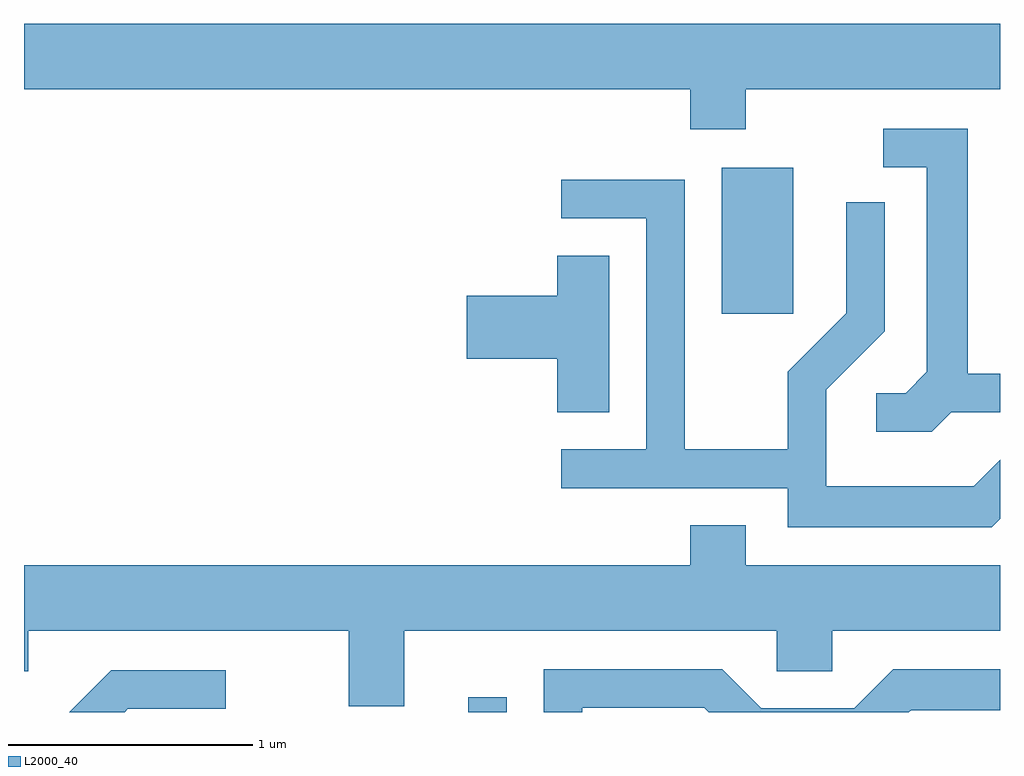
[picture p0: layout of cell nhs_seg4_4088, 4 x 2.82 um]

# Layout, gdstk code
import gdstk
lib = gdstk.Library(unit=1e-6, precision=1e-09)
def R(c, l, rs):  # rectangles x0, y0, x1, y1
    for r in rs: c.add(gdstk.rectangle(r[:2], r[2:], *l))
def P(c, l, *ps):  # polygons
    for p in ps: c.add(gdstk.Polygon(p, *l))
L2000_40 = (2000, 40)

nhs_seg4_4088 = lib.new_cell('nhs_seg4_4088')
R(nhs_seg4_4088, L2000_40, [(307.431,1269.982,307.589,1270.043), (308.471,1271.616,308.764,1272.214)])
P(nhs_seg4_4088, L2000_40, [(308.569,1272.536),(309.611,1272.536),(309.611,1272.804),(305.611,1272.804),(305.611,1272.536),(308.341,1272.536),(308.341,1272.371),(308.569,1272.371)],
  [(309.412,1271.211),(309.611,1271.211),(309.611,1271.369),(309.479,1271.369),(309.479,1272.374),(309.133,1272.374),(309.133,1272.216),(309.311,1272.216),(309.311,1271.377),(309.224,1271.289),(309.103,1271.289),(309.103,1271.131),(309.332,1271.131)],
  [(309.611,1270.775),(309.611,1271.016),(309.504,1270.909),(308.899,1270.909),(308.899,1271.304),(309.139,1271.544),(309.139,1272.073),(308.981,1272.073),(308.981,1271.617),(308.741,1271.377),(308.741,1271.059),(308.319,1271.059),(308.319,1272.164),(307.813,1272.164),(307.813,1272.006),(308.161,1272.006),(308.161,1271.059),(307.813,1271.059),(307.813,1270.901),(308.741,1270.901),(308.741,1270.741),(309.577,1270.741)],
  [(308.009,1271.854),(307.796,1271.854),(307.796,1271.689),(307.426,1271.689),(307.426,1271.431),(307.796,1271.431),(307.796,1271.211),(308.009,1271.211)],
  [(307.169,1270.316),(308.696,1270.316),(308.696,1270.151),(308.924,1270.151),(308.924,1270.316),(309.611,1270.316),(309.611,1270.584),(308.569,1270.584),(308.569,1270.749),(308.341,1270.749),(308.341,1270.584),(305.611,1270.584),(305.611,1270.151),(305.629,1270.151),(305.629,1270.316),(306.941,1270.316),(306.941,1270.006),(307.169,1270.006)],
  [(307.899,1270.001),(308.399,1270.001),(308.418,1269.982),(309.238,1269.982),(309.247,1269.991),(309.611,1269.991),(309.611,1270.159),(309.174,1270.159),(309.014,1269.999),(308.632,1269.999),(308.472,1270.159),(307.741,1270.159),(307.741,1269.982),(307.899,1269.982)],
  [(306.037,1269.996),(306.438,1269.996),(306.438,1270.154),(305.969,1270.154),(305.796,1269.982),(306.023,1269.982)])

lib.write_gds('nhs_seg4_4088.gds')
